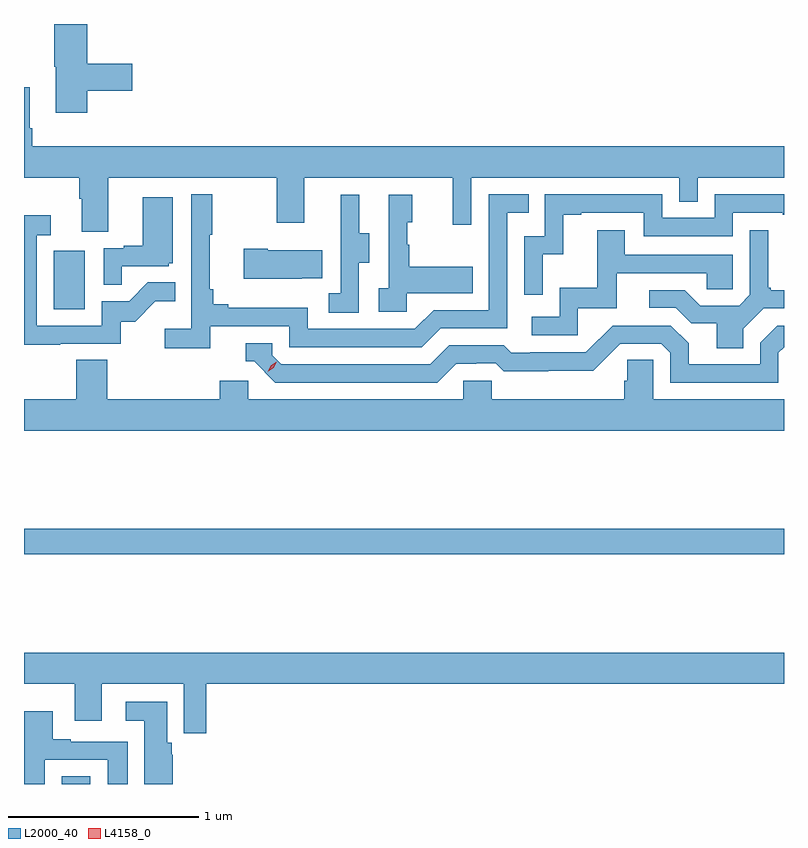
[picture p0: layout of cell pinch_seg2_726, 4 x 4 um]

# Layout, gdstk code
import gdstk
lib = gdstk.Library(unit=1e-6, precision=1e-09)
def R(c, l, rs):  # rectangles x0, y0, x1, y1
    for r in rs: c.add(gdstk.rectangle(r[:2], r[2:], *l))
def P(c, l, *ps):  # polygons
    for p in ps: c.add(gdstk.Polygon(p, *l))
L2000_40 = (2000, 40)
L4158_0 = (4158, 0)

pinch_seg2_726 = lib.new_cell('pinch_seg2_726')
R(pinch_seg2_726, L2000_40, [(885.086,651.104,885.235,651.146), (884.887,652.312,888.887,652.448), (885.044,653.604,885.208,653.911)])
P(pinch_seg2_726, L2000_40, [(885.221,654.754),(885.457,654.754),(885.457,654.896),(885.221,654.896),(885.221,655.104),(885.046,655.104),(885.046,654.879),(885.053,654.879),(885.053,654.636),(885.221,654.636)],
  [(885.331,654.296),(886.216,654.296),(886.216,654.057),(886.363,654.057),(886.363,654.296),(887.144,654.296),(887.144,654.048),(887.241,654.048),(887.241,654.296),(888.336,654.296),(888.336,654.169),(888.432,654.169),(888.432,654.296),(888.887,654.296),(888.887,654.46),(884.93,654.46),(884.93,654.556),(884.917,654.556),(884.917,654.772),(884.887,654.772),(884.887,654.296),(885.179,654.296),(885.179,654.184),(885.191,654.184),(885.191,654.01),(885.331,654.01)],
  [(885.866,653.514),(886.284,653.514),(886.284,653.403),(886.981,653.403),(887.08,653.502),(887.43,653.502),(887.43,654.111),(887.543,654.111),(887.543,654.207),(887.334,654.207),(887.334,653.598),(887.043,653.598),(886.944,653.499),(886.38,653.499),(886.38,653.611),(885.961,653.611),(885.961,653.63),(885.884,653.63),(885.884,653.707),(885.865,653.707),(885.865,653.995),(885.877,653.995),(885.877,654.208),(885.768,654.208),(885.768,653.5),(885.627,653.5),(885.627,653.398),(885.866,653.398)],
  [(887.616,653.891),(887.726,653.891),(887.726,654.099),(887.821,654.099),(887.821,654.111),(888.15,654.111),(888.15,653.988),(888.618,653.988),(888.618,654.111),(888.881,654.111),(888.881,654.099),(888.887,654.099),(888.887,654.207),(888.522,654.207),(888.522,654.084),(888.246,654.084),(888.246,654.207),(887.628,654.207),(887.628,653.988),(887.52,653.988),(887.52,653.679),(887.616,653.679)],
  [(886.65,653.848),(886.705,653.848),(886.705,654.003),(886.651,654.003),(886.651,654.205),(886.553,654.205),(886.553,653.991),(886.554,653.991),(886.554,653.687),(886.491,653.687),(886.491,653.584),(886.65,653.584)],
  [(886.902,653.687),(887.249,653.687),(887.249,653.827),(886.915,653.827),(886.915,653.942),(886.905,653.942),(886.905,654.06),(886.93,654.06),(886.93,654.205),(886.806,654.205),(886.806,653.714),(886.755,653.714),(886.755,653.589),(886.902,653.589)],
  [(885.401,653.829),(885.648,653.829),(885.648,653.844),(885.67,653.844),(885.67,654.193),(885.512,654.193),(885.512,653.938),(885.413,653.938),(885.413,653.925),(885.306,653.925),(885.306,653.731),(885.401,653.731)],
  [(885.077,653.421),(885.396,653.421),(885.396,653.538),(885.472,653.538),(885.579,653.645),(885.683,653.645),(885.683,653.744),(885.539,653.744),(885.441,653.646),(885.297,653.646),(885.297,653.517),(884.955,653.517),(884.955,653.991),(885.028,653.991),(885.028,654.097),(884.887,654.097),(884.887,653.416),(885.077,653.416)],
  [(887.802,653.607),(888.007,653.607),(888.007,653.793),(888.481,653.793),(888.481,653.709),(888.618,653.709),(888.618,653.889),(888.049,653.889),(888.049,654.019),(887.905,654.019),(887.905,653.716),(887.706,653.716),(887.706,653.562),(887.559,653.562),(887.559,653.466),(887.802,653.466)],
  [(888.673,653.5),(888.78,653.607),(888.887,653.607),(888.887,653.704),(888.817,653.704),(888.817,653.716),(888.805,653.716),(888.805,654.019),(888.708,654.019),(888.708,653.679),(888.651,653.622),(888.445,653.622),(888.364,653.703),(888.177,653.703),(888.177,653.61),(888.318,653.61),(888.398,653.53),(888.533,653.53),(888.533,653.398),(888.673,653.398)],
  [(886.349,653.765),(886.457,653.765),(886.457,653.914),(886.171,653.914),(886.171,653.922),(886.043,653.922),(886.043,653.762),(886.349,653.762)],
  [(887.161,653.316),(887.268,653.316),(887.268,653.319),(887.371,653.319),(887.413,653.277),(887.646,653.277),(887.646,653.279),(887.882,653.279),(888.024,653.421),(888.24,653.421),(888.288,653.373),(888.288,653.217),(888.858,653.217),(888.858,653.373),(888.887,653.402),(888.887,653.517),(888.852,653.517),(888.762,653.427),(888.762,653.313),(888.385,653.313),(888.385,653.423),(888.291,653.517),(887.985,653.517),(887.844,653.376),(887.551,653.376),(887.551,653.373),(887.452,653.373),(887.413,653.412),(887.124,653.412),(887.025,653.313),(886.242,653.313),(886.194,653.361),(886.194,653.424),(886.055,653.424),(886.055,653.328),(886.098,653.328),(886.209,653.217),(887.062,653.217)],
  [(885.161,653.336),(885.161,653.128),(884.887,653.128),(884.887,652.964),(888.887,652.964),(888.887,653.128),(888.198,653.128),(888.198,653.336),(888.061,653.336),(888.061,653.226),(888.047,653.226),(888.047,653.128),(887.349,653.128),(887.349,653.226),(887.199,653.226),(887.199,653.128),(886.068,653.128),(886.068,653.226),(885.917,653.226),(885.917,653.128),(885.326,653.128),(885.326,653.336)],
  [(885.845,651.632),(888.887,651.632),(888.887,651.796),(884.887,651.796),(884.887,651.632),(885.155,651.632),(885.155,651.438),(885.295,651.438),(885.295,651.632),(885.729,651.632),(885.729,651.372),(885.845,651.372)],
  [(885.671,651.258),(885.665,651.258),(885.665,651.321),(885.64,651.321),(885.64,651.538),(885.423,651.538),(885.423,651.437),(885.521,651.437),(885.521,651.104),(885.671,651.104)],
  [(884.995,651.231),(885.329,651.231),(885.329,651.104),(885.433,651.104),(885.433,651.327),(885.133,651.327),(885.133,651.34),(885.037,651.34),(885.037,651.487),(884.887,651.487),(884.887,651.104),(884.995,651.104)])
P(pinch_seg2_726, L4158_0, [(886.17,653.275),(886.17,653.275),(886.187,653.308),(886.218,653.327),(886.218,653.327),(886.218,653.327),(886.202,653.294),(886.171,653.275)])

lib.write_gds('pinch_seg2_726.gds')
